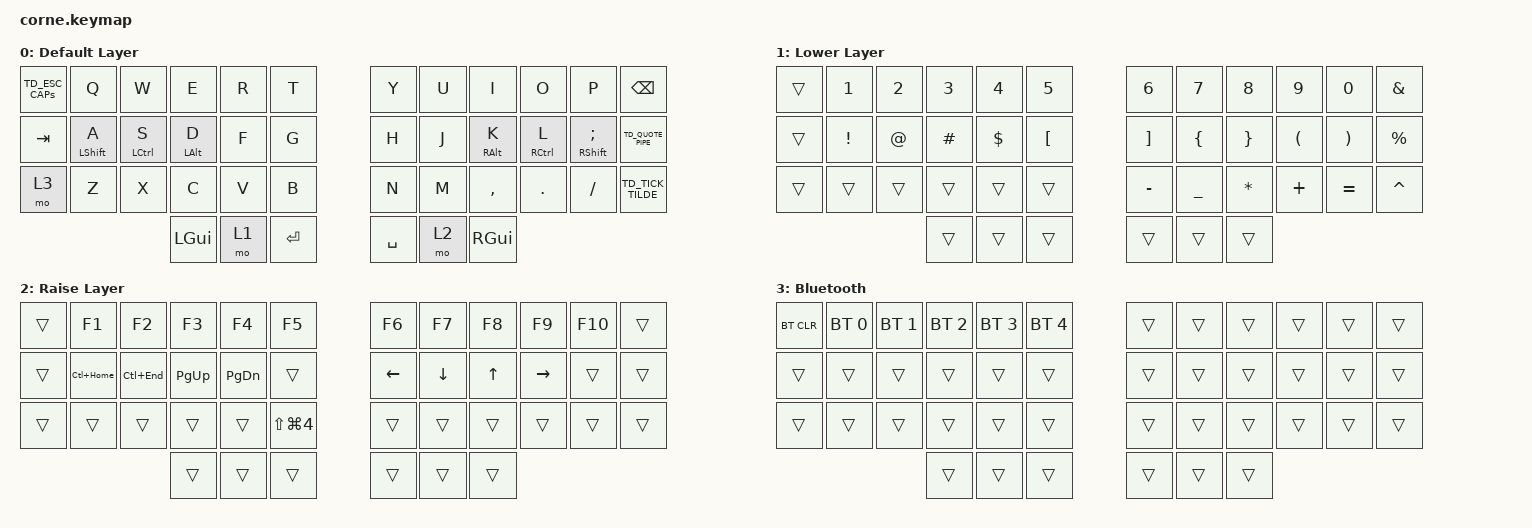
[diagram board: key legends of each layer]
/*
 * Copyright (c) 2020 The ZMK Contributors
 *
 * SPDX-License-Identifier: MIT
 */

#include <behaviors.dtsi>
#include <dt-bindings/zmk/bt.h>
#include <dt-bindings/zmk/keys.h>

&mt {
    flavor = "balanced";
    quick-tap-ms = <150>;
    require-prior-idle-ms = <135>;
};

/ {
    behaviors {
        toggle_bt_layer: toggle_bt_layer {
            compatible = "zmk,behavior-toggle-layer";
            label = "BT_TOGGLE";
            #binding-cells = <1>;
        };

        TD_TICK_TILDE: TD_TICK_TILDE {
            compatible = "zmk,behavior-tap-dance";
            label = "TD_TICK_TILDE";
            #binding-cells = <0>;
            bindings = <&kp GRAVE>, <&kp TILDE>;
        };

        TD_QUOTE_PIPE: TD_QUOTE_PIPE {
            compatible = "zmk,behavior-tap-dance";
            label = "TD_QUOTE_PIPE";
            #binding-cells = <0>;
            bindings = <&kp SQT>, <&kp PIPE>, <&kp BACKSLASH>;
        };

        TD_ESC_CAPs: TD_ESC_CAPs {
            compatible = "zmk,behavior-tap-dance";
            label = "TD_ESC_CAPS";
            #binding-cells = <0>;
            bindings = <&kp ESCAPE>, <&kp CAPSLOCK>;
        };

        MT_SHIFT_KEYS: MT_SHIFT_KEYS {
            compatible = "zmk,behavior-hold-tap";
            label = "MT_SHIFT_KEYS";
            bindings = <&kp>, <&kp>;

            #binding-cells = <2>;
            tapping-term-ms = <200>;
            quick-tap-ms = <150>;
            flavor = "balanced";
        };
    };

    keymap {
        compatible = "zmk,keymap";

        default_layer {
            display-name = "Default Layer";

            // -----------------------------------------------------------------------------------------
            // |  TAB |  Q  |  W  |  E  |  R  |  T  |   |  Y  |  U   |  I  |  O  |  P  | BSPC |
            // | CTRL |  A  |  S  |  D  |  F  |  G  |   |  H  |  J   |  K  |  L  |  ;  |  '   |
            // | SHFT |  Z  |  X  |  C  |  V  |  B  |   |  N  |  M   |  ,  |  .  |  /  | ESC  |
            //                    | GUI | LWR | SPC |   | ENT | RSE  | ALT |

            bindings = <
&TD_ESC_CAPs  &kp Q                        &kp W               &kp E           &kp R  &kp T        &kp Y      &kp U  &kp I            &kp O        &kp P                            &kp BSPC
&kp TAB       &MT_SHIFT_KEYS LEFT_SHIFT A  &mt LEFT_CONTROL S  &mt LEFT_ALT D  &kp F  &kp G        &kp H      &kp J  &mt RIGHT_ALT K  &mt RCTRL L  &MT_SHIFT_KEYS RIGHT_SHIFT SEMI  &TD_QUOTE_PIPE
&mo 3         &kp Z                        &kp X               &kp C           &kp V  &kp B        &kp N      &kp M  &kp COMMA        &kp DOT      &kp FSLH                         &TD_TICK_TILDE
                                                               &kp LGUI        &mo 1  &kp ENTER    &kp SPACE  &mo 2  &kp RIGHT_GUI
            >;
        };

        lower_layer {
            display-name = "Lower Layer";

            // -----------------------------------------------------------------------------------------
            // |  TAB |  1  |  2  |  3  |  4  |  5  |   |  6  |  7  |  8  |  9  |  0  | BSPC |
            // | BTCLR| BT1 | BT2 | BT3 | BT4 | BT5 |   | LFT | DWN |  UP | RGT |     |      |
            // | SHFT |     |     |     |     |     |   |     |     |     |     |     |      |
            //                    | GUI |     | SPC |   | ENT |     | ALT |

            bindings = <
&trans  &kp N1           &kp N2       &kp N3    &kp N4      &kp N5              &kp N6             &kp N7          &kp N8           &kp N9                &kp N0                 &kp AMPS
&trans  &kp EXCLAMATION  &kp AT_SIGN  &kp HASH  &kp DOLLAR  &kp LEFT_BRACKET    &kp RIGHT_BRACKET  &kp LEFT_BRACE  &kp RIGHT_BRACE  &kp LEFT_PARENTHESIS  &kp RIGHT_PARENTHESIS  &kp PERCENT
&trans  &trans           &trans       &trans    &trans      &trans              &kp MINUS          &kp UNDER       &kp STAR         &kp PLUS              &kp EQUAL              &kp CARET
                                      &trans    &trans      &trans              &trans             &trans          &trans
            >;
        };

        raise_layer {
            display-name = "Raise Layer";

            // -----------------------------------------------------------------------------------------
            // |  TAB |  !  |  @  |  #  |  $  |  %  |   |  ^  |  &  |  *  |  (  |  )  | BSPC |
            // | CTRL |     |     |     |     |     |   |  -  |  =  |  [  |  ]  |  \  |  `   |
            // | SHFT |     |     |     |     |     |   |  _  |  +  |  {  |  }  | "|" |  ~   |
            //                    | GUI |     | SPC |   | ENT |     | ALT |

            bindings = <
&trans  &kp F1        &kp F2       &kp F3       &kp F4         &kp F5                  &kp F6          &kp F7          &kp F8        &kp F9           &kp F10  &trans
&trans  &kp LC(HOME)  &kp LC(END)  &kp PAGE_UP  &kp PAGE_DOWN  &trans                  &kp LEFT_ARROW  &kp DOWN_ARROW  &kp UP_ARROW  &kp RIGHT_ARROW  &trans   &trans
&trans  &trans        &trans       &trans       &trans         &kp LS(LG(NUMBER_4))    &trans          &trans          &trans        &trans           &trans   &trans
                                   &trans       &trans         &trans                  &trans          &trans          &trans
            >;
        };

        Bluetooth {
            bindings = <
&bt BT_CLR  &bt BT_SEL 0  &bt BT_SEL 1  &bt BT_SEL 2  &bt BT_SEL 3  &bt BT_SEL 4    &trans  &trans  &trans  &trans  &trans  &trans
&trans      &trans        &trans        &trans        &trans        &trans          &trans  &trans  &trans  &trans  &trans  &trans
&trans      &trans        &trans        &trans        &trans        &trans          &trans  &trans  &trans  &trans  &trans  &trans
                                        &trans        &trans        &trans          &trans  &trans  &trans
            >;
        };
    };
};
